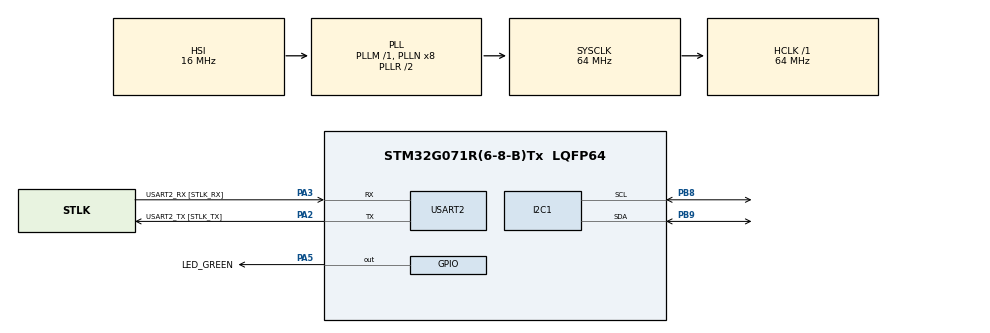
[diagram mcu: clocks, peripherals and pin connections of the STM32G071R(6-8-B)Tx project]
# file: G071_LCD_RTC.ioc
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I2C1.Timing=0x10B17DB5
Mcu.Family=STM32G0
Mcu.Name=STM32G071R(6-8-B)Tx
Mcu.Package=LQFP64
NVIC.RTC_TAMP_IRQn=true\:0\:0\:false\:false\:true\:true\:true\:true
NVIC.TIM6_DAC_LPTIM1_IRQn=true\:0\:0\:false\:false\:true\:true\:true\:true
PA13.GPIO_Label=TMS
PA13.Mode=Serial_Wire
PA13.Signal=SYS_SWDIO
PA14-BOOT0.GPIO_Label=TCK
PA14-BOOT0.Mode=Serial_Wire
PA14-BOOT0.Signal=SYS_SWCLK
PA2.GPIO_Label=USART2_TX [STLK_TX]
PA2.GPIO_PuPd=GPIO_PULLUP
PA2.Mode=Asynchronous
PA2.Signal=USART2_TX
PA3.GPIO_Label=USART2_RX [STLK_RX]
PA3.GPIO_PuPd=GPIO_PULLUP
PA3.Mode=Asynchronous
PA3.Signal=USART2_RX
PA5.GPIO_Label=LED_GREEN
PA5.GPIO_Speed=GPIO_SPEED_FREQ_HIGH
PA5.Signal=GPIO_Output
PB8.Mode=I2C
PB8.Signal=I2C1_SCL
PB9.Mode=I2C
PB9.Signal=I2C1_SDA
PC13.Mode=SYS_WakeUp1
PC13.Signal=SYS_WKUP2
PC14-OSC32_IN\ (PC14).Mode=LSE-External-Oscillator
PC14-OSC32_IN\ (PC14).Signal=RCC_OSC32_IN
PC15-OSC32_OUT\ (PC15).Mode=LSE-External-Oscillator
PC15-OSC32_OUT\ (PC15).Signal=RCC_OSC32_OUT
PF0-OSC_IN\ (PF0).GPIO_Label=MCO
PF0-OSC_IN\ (PF0).Signal=RCC_OSC_IN
ProjectManager.HeapSize=0x200
ProjectManager.StackSize=0x400
ProjectManager.TargetToolchain=STM32CubeIDE
RCC.ADCFreq_Value=64000000
RCC.AHBFreq_Value=64000000
RCC.CortexFreq_Value=64000000
RCC.EXTERNAL_CLOCK_VALUE=12288000
RCC.HCLKFreq_Value=64000000
RCC.HSE_VALUE=8000000
RCC.HSI_VALUE=16000000
RCC.RTCClockSelection=RCC_RTCCLKSOURCE_LSE
RCC.SYSCLKFreq_VALUE=64000000
RCC.SYSCLKSource=RCC_SYSCLKSOURCE_PLLCLK
RCC.VCOOutputFreq_Value=128000000
RTC.Alarm-Alarm\ A=RTC_ALARM_A
TIM6.Period=1000-1
TIM6.Prescaler=64000-1
USART2.VirtualMode-Asynchronous=VM_ASYNC
VP_RTC_VS_RTC_Activate.Mode=RTC_Enabled
VP_RTC_VS_RTC_Alarm_A_Intern.Mode=Alarm A
VP_RTC_VS_RTC_Calendar.Mode=RTC_Calendar
VP_TIM6_VS_ClockSourceINT.Mode=Enable_Timer
board=NUCLEO-G071RB

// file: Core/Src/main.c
/* USER CODE BEGIN Header */
/**
  ******************************************************************************
  * @file           : main.c
  * @brief          : Main program body
  ******************************************************************************
  * @attention
  *
  * Copyright (c) 2024 STMicroelectronics.
  * All rights reserved.
  *
  * This software is licensed under terms that can be found in the LICENSE file
  * in the root directory of this software component.
  * If no LICENSE file comes with this software, it is provided AS-IS.
  *
  ******************************************************************************
  */
/* USER CODE END Header */
#include "main.h"

/* USER CODE BEGIN Includes */
#include <string.h>
#include <stdio.h>
#include "ssd1306.h"
#include "ssd1306_fonts.h"
/* USER CODE END Includes */

/* USER CODE BEGIN PTD */
#define ESC "\033"
#define CLEAR_SCREEN ESC "[2J"
#define CURSOR_HOME ESC "[H"

/* USER CODE END PTD */

I2C_HandleTypeDef hi2c1;

RTC_HandleTypeDef hrtc;

TIM_HandleTypeDef htim6;

UART_HandleTypeDef huart2;

void SystemClock_Config(void);
static void MX_GPIO_Init(void);
static void MX_USART2_UART_Init(void);
static void MX_I2C1_Init(void);
static void MX_RTC_Init(void);
static void MX_TIM6_Init(void);
/* USER CODE BEGIN PFP */
void Set_RTC_Time(void);
void Set_RTC_Date(void);
void Set_RTC_Alarm(void);
void Show_Menu(void);
void Print_Time(void);
void Print_Date(void);
void Print_Alarm(void);
void HAL_RTC_AlarmAEventCallback(RTC_HandleTypeDef *hrtc);
void UART_Receive(uint8_t *data, uint16_t size);
void Clear_Screen(void);
void Print_Date_Oled(void);
void Print_Time_Oled(void);
/* USER CODE END PFP */

/* USER CODE BEGIN 0 */
void Clear_Screen(void)
{
    HAL_UART_Transmit(&huart2, (uint8_t*)CLEAR_SCREEN, strlen(CLEAR_SCREEN), HAL_MAX_DELAY);
    HAL_UART_Transmit(&huart2, (uint8_t*)CURSOR_HOME, strlen(CURSOR_HOME), HAL_MAX_DELAY);
}

void UART_Receive(uint8_t *buffer, uint16_t size)
{
    // Ensure the buffer is null-terminated
    HAL_UART_Receive(&huart2, buffer, size, HAL_MAX_DELAY);
    buffer[size] = '\0';
}

void Set_RTC_Time(void)
{
    RTC_TimeTypeDef sTime = {0};
    uint8_t buffer[3];

    HAL_UART_Transmit(&huart2, (uint8_t*)"Enter Hours (00-23): ", 21, HAL_MAX_DELAY);
    UART_Receive(buffer, 2);
    sTime.Hours = (buffer[0] - '0') * 10 + (buffer[1] - '0');

    HAL_UART_Transmit(&huart2, (uint8_t*)"\n\rEnter Minutes (00-59): ", 24, HAL_MAX_DELAY);
    UART_Receive(buffer, 2);
    sTime.Minutes = (buffer[0] - '0') * 10 + (buffer[1] - '0');

    HAL_UART_Transmit(&huart2, (uint8_t*)"\n\rEnter Seconds (00-59): \n\r", 24, HAL_MAX_DELAY);
    UART_Receive(buffer, 2);
    sTime.Seconds = (buffer[0] - '0') * 10 + (buffer[1] - '0');

    sTime.DayLightSaving = RTC_DAYLIGHTSAVING_NONE;
    sTime.StoreOperation = RTC_STOREOPERATION_RESET;

    if (HAL_RTC_SetTime(&hrtc, &sTime, RTC_FORMAT_BIN) != HAL_OK)
    {
        Error_Handler();
    }
    HAL_UART_Transmit(&huart2, (uint8_t*)"\n\rTime is set!\n\r ", 16, HAL_MAX_DELAY);
}

void Set_RTC_Date(void)
{
    RTC_DateTypeDef sDate = {0};
    uint8_t buffer[3];

    HAL_UART_Transmit(&huart2, (uint8_t*)"Enter Year (00-99): ", 20, HAL_MAX_DELAY);
    UART_Receive(buffer, 2);
    sDate.Year = (buffer[0] - '0') * 10 + (buffer[1] - '0');

    HAL_UART_Transmit(&huart2, (uint8_t*)"\n\rEnter Month (01-12): ", 22, HAL_MAX_DELAY);
    UART_Receive(buffer, 2);
    sDate.Month = (buffer[0] - '0') * 10 + (buffer[1] - '0');

    HAL_UART_Transmit(&huart2, (uint8_t*)"\n\rEnter Date (01-31): ", 21, HAL_MAX_DELAY);
    UART_Receive(buffer, 2);
    sDate.Date = (buffer[0] - '0') * 10 + (buffer[1] - '0');

    HAL_UART_Transmit(&huart2, (uint8_t*)"\n\rEnter Weekday (1=Mon, 7=Sun): ", 33, HAL_MAX_DELAY);
    UART_Receive(buffer, 1);
    sDate.WeekDay = buffer[0] - '0';

    if (HAL_RTC_SetDate(&hrtc, &sDate, RTC_FORMAT_BIN) != HAL_OK)
    {
        Error_Handler();
    }
    HAL_UART_Transmit(&huart2, (uint8_t*)"\n\rDate is set!\n\r ", 16, HAL_MAX_DELAY);

}

void Set_RTC_Alarm(void)
{
    RTC_AlarmTypeDef sAlarm = {0};
    uint8_t buffer[3];

    HAL_UART_Transmit(&huart2, (uint8_t*)"Enter Alarm Hours (00-23): ", 27, HAL_MAX_DELAY);
    UART_Receive(buffer, 2);
    sAlarm.AlarmTime.Hours = (buffer[0] - '0') * 10 + (buffer[1] - '0');

    HAL_UART_Transmit(&huart2, (uint8_t*)"\n\rEnter Alarm Minutes (00-59): ", 30, HAL_MAX_DELAY);
    UART_Receive(buffer, 2);
    sAlarm.AlarmTime.Minutes = (buffer[0] - '0') * 10 + (buffer[1] - '0');

    HAL_UART_Transmit(&huart2, (uint8_t*)"\n\rEnter Alarm Seconds (00-59): ", 30, HAL_MAX_DELAY);
    UART_Receive(buffer, 2);
    sAlarm.AlarmTime.Seconds = (buffer[0] - '0') * 10 + (buffer[1] - '0');

    sAlarm.AlarmTime.SubSeconds = 0;
    sAlarm.AlarmTime.DayLightSaving = RTC_DAYLIGHTSAVING_NONE;
    sAlarm.AlarmTime.StoreOperation = RTC_STOREOPERATION_RESET;
    sAlarm.AlarmMask = RTC_ALARMMASK_NONE;
    sAlarm.AlarmSubSecondMask = RTC_ALARMSUBSECONDMASK_ALL;
    sAlarm.AlarmDateWeekDaySel = RTC_ALARMDATEWEEKDAYSEL_DATE;
    sAlarm.AlarmDateWeekDay = 0x01;
    sAlarm.Alarm = RTC_ALARM_A;

    if (HAL_RTC_SetAlarm_IT(&hrtc, &sAlarm, RTC_FORMAT_BIN) != HAL_OK)
    {
        Error_Handler();
    }
    HAL_UART_Transmit(&huart2, (uint8_t*)"\n\rAlarm is set!\n\r", 17, HAL_MAX_DELAY);
}

void Print_Time(void)
{
    RTC_TimeTypeDef sTime;
    char buffer[50];

    HAL_RTC_GetTime(&hrtc, &sTime, RTC_FORMAT_BIN);
    sprintf(buffer, "Current Time: %02d:%02d:%02d\n\r", sTime.Hours, sTime.Minutes, sTime.Seconds);
    HAL_UART_Transmit(&huart2, (uint8_t*)buffer, strlen(buffer), HAL_MAX_DELAY);
}

void Print_Date(void)
{
    RTC_DateTypeDef sDate;
    char buffer[50];

    HAL_RTC_GetDate(&hrtc, &sDate, RTC_FORMAT_BIN);
    sprintf(buffer, "Current Date: %02d-%02d-20%02d\n\r", sDate.Date, sDate.Month, sDate.Year);
    HAL_UART_Transmit(&huart2, (uint8_t*)buffer, strlen(buffer), HAL_MAX_DELAY);
}

void Print_Date_Oled(void)
{
    RTC_DateTypeDef sDate;
    char buffer_oled[15] ={0};

    HAL_RTC_GetDate(&hrtc, &sDate, RTC_FORMAT_BIN);
    sprintf(buffer_oled, "%02d-%02d-20%02d", sDate.Date, sDate.Month, sDate.Year);
    ssd1306_SetCursor(15, 45);
    ssd1306_WriteString(buffer_oled, Font_16x15, White);
    ssd1306_UpdateScreen();
}

void Print_Time_Oled(void)
{
    RTC_TimeTypeDef sTime;
    char buffer_oled[15] ={0};

    HAL_RTC_GetTime(&hrtc, &sTime, RTC_FORMAT_BIN);
    sprintf(buffer_oled, "%02d:%02d:%02d", sTime.Hours, sTime.Minutes, sTime.Seconds);
    ssd1306_SetCursor(20, 28);
    ssd1306_WriteString(buffer_oled, Font_11x18, White);
    ssd1306_UpdateScreen();
}

void Print_Alarm(void)
{
    RTC_AlarmTypeDef sAlarm;
    char buffer[50];

    HAL_RTC_GetAlarm(&hrtc, &sAlarm, RTC_ALARM_A, RTC_FORMAT_BIN);
    sprintf(buffer, "Alarm Time: %02d:%02d:%02d\n\r", sAlarm.AlarmTime.Hours, sAlarm.AlarmTime.Minutes, sAlarm.AlarmTime.Seconds);
    HAL_UART_Transmit(&huart2, (uint8_t*)buffer, strlen(buffer), HAL_MAX_DELAY);
}

void Show_Menu(void)
{
    Clear_Screen();
    const char *menu = "\r\nMenu:\r\n"
    				   "0. Show Menu\r\n"
                       "1. Show Time\r\n"
                       "2. Show Date\r\n"
                       "3. Show Alarm\r\n"
                       "4. Set Time\r\n"
                       "5. Set Date\r\n"
                       "6. Set Alarm\r\n"
    				   "7. Reset Alarm Led\r\n\n";

    HAL_UART_Transmit(&huart2, (uint8_t*)menu, strlen(menu), HAL_MAX_DELAY);
}

/* USER CODE END 0 */

int main(void)
{

  /* USER CODE BEGIN 1 */
	char OledText[] = "PR TechTalk RTC";

  /* USER CODE END 1 */

  /* MCU Configuration--------------------------------------------------------*/

  /* Reset of all peripherals, Initializes the Flash interface and the Systick. */
  HAL_Init();

  /* Configure the system clock */
  SystemClock_Config();

  /* Initialize all configured peripherals */
  MX_GPIO_Init();
  MX_USART2_UART_Init();
  MX_I2C1_Init();
  MX_RTC_Init();
  MX_TIM6_Init();
  /* USER CODE BEGIN 2 */
  ssd1306_Init();
  ssd1306_SetCursor(0, 0);
  ssd1306_Fill(Black);
  ssd1306_WriteString(OledText, Font_11x18, White);
  ssd1306_Line(0, 20, 128, 20, White);
  ssd1306_UpdateScreen();
  Show_Menu();

  // Start the TIM6 interrupt
  HAL_TIM_Base_Start_IT(&htim6);

  /* USER CODE END 2 */

  /* Infinite loop */
  /* USER CODE BEGIN WHILE */
  while (1)
  {
	  uint8_t userChoice = 0;

	  	  // Wait for user input
	  	  UART_Receive(&userChoice, 1);

	  	  // Handle user input
	  	  	          switch (userChoice)
	  	  	          {

	  	  	          	  case '0':
	  	  	        	  	  Show_Menu();
	  	  	        	  	  break;
	  	  	          	  case '1':
	  	  	                  Print_Time();
	  	  	                  break;
	  	  	              case '2':
	  	  	                  Print_Date();
	  	  	                  break;
	  	  	              case '3':
	  	  	                  Print_Alarm();
	  	  	                  break;
	  	  	              case '4':
	  	  	                  Set_RTC_Time();
	  	  	                  break;
	  	  	              case '5':
	  	  	                  Set_RTC_Date();
	  	  	                  break;
	  	  	              case '6':
	  	  	                  Set_RTC_Alarm();
	  	  	                  break;
	  	  	              case '7':
	  	  	            	  HAL_GPIO_WritePin(LED_GREEN_GPIO_Port, LED_GREEN_Pin, GPIO_PIN_RESET);
	  	  	              default:
	  	  	                  HAL_UART_Transmit(&huart2, (uint8_t*)"Invalid choice. Please try again.\n\r", 36, HAL_MAX_DELAY);
	  	  	                  break;
	  	  	          }

	  	  	          // After user input is processed, show menu again
	  	  	          //  Show_Menu();

    /* USER CODE END WHILE */

  }
}

void SystemClock_Config(void)
{
  RCC_OscInitTypeDef RCC_OscInitStruct = {0};
  RCC_ClkInitTypeDef RCC_ClkInitStruct = {0};

  /** Configure the main internal regulator output voltage
  */
  HAL_PWREx_ControlVoltageScaling(PWR_REGULATOR_VOLTAGE_SCALE1);

  /** Configure LSE Drive Capability
  */
  HAL_PWR_EnableBkUpAccess();
  __HAL_RCC_LSEDRIVE_CONFIG(RCC_LSEDRIVE_LOW);

  /** Initializes the RCC Oscillators according to the specified parameters
  * in the RCC_OscInitTypeDef structure.
  */
  RCC_OscInitStruct.OscillatorType = RCC_OSCILLATORTYPE_HSI|RCC_OSCILLATORTYPE_LSE;
  RCC_OscInitStruct.LSEState = RCC_LSE_ON;
  RCC_OscInitStruct.HSIState = RCC_HSI_ON;
  RCC_OscInitStruct.HSIDiv = RCC_HSI_DIV1;
  RCC_OscInitStruct.HSICalibrationValue = RCC_HSICALIBRATION_DEFAULT;
  RCC_OscInitStruct.PLL.PLLState = RCC_PLL_ON;
  RCC_OscInitStruct.PLL.PLLSource = RCC_PLLSOURCE_HSI;
  RCC_OscInitStruct.PLL.PLLM = RCC_PLLM_DIV1;
  RCC_OscInitStruct.PLL.PLLN = 8;
  RCC_OscInitStruct.PLL.PLLP = RCC_PLLP_DIV2;
  RCC_OscInitStruct.PLL.PLLQ = RCC_PLLQ_DIV2;
  RCC_OscInitStruct.PLL.PLLR = RCC_PLLR_DIV2;
  if (HAL_RCC_OscConfig(&RCC_OscInitStruct) != HAL_OK)
  {
    Error_Handler();
  }

  /** Initializes the CPU, AHB and APB buses clocks
  */
  RCC_ClkInitStruct.ClockType = RCC_CLOCKTYPE_HCLK|RCC_CLOCKTYPE_SYSCLK
                              |RCC_CLOCKTYPE_PCLK1;
  RCC_ClkInitStruct.SYSCLKSource = RCC_SYSCLKSOURCE_PLLCLK;
  RCC_ClkInitStruct.AHBCLKDivider = RCC_SYSCLK_DIV1;
  RCC_ClkInitStruct.APB1CLKDivider = RCC_HCLK_DIV1;

  if (HAL_RCC_ClockConfig(&RCC_ClkInitStruct, FLASH_LATENCY_2) != HAL_OK)
  {
    Error_Handler();
  }
}

static void MX_I2C1_Init(void)
{

  hi2c1.Instance = I2C1;
  hi2c1.Init.Timing = 0x10B17DB5;
  hi2c1.Init.OwnAddress1 = 0;
  hi2c1.Init.AddressingMode = I2C_ADDRESSINGMODE_7BIT;
  hi2c1.Init.DualAddressMode = I2C_DUALADDRESS_DISABLE;
  hi2c1.Init.OwnAddress2 = 0;
  hi2c1.Init.OwnAddress2Masks = I2C_OA2_NOMASK;
  hi2c1.Init.GeneralCallMode = I2C_GENERALCALL_DISABLE;
  hi2c1.Init.NoStretchMode = I2C_NOSTRETCH_DISABLE;
  if (HAL_I2C_Init(&hi2c1) != HAL_OK)
  {
    Error_Handler();
  }

  /** Configure Analogue filter
  */
  if (HAL_I2CEx_ConfigAnalogFilter(&hi2c1, I2C_ANALOGFILTER_ENABLE) != HAL_OK)
  {
    Error_Handler();
  }

  /** Configure Digital filter
  */
  if (HAL_I2CEx_ConfigDigitalFilter(&hi2c1, 0) != HAL_OK)
  {
    Error_Handler();
  }

}

static void MX_RTC_Init(void)
{

  RTC_TimeTypeDef sTime = {0};
  RTC_DateTypeDef sDate = {0};
  RTC_AlarmTypeDef sAlarm = {0};

  /** Initialize RTC Only
  */
  hrtc.Instance = RTC;
  hrtc.Init.HourFormat = RTC_HOURFORMAT_24;
  hrtc.Init.AsynchPrediv = 127;
  hrtc.Init.SynchPrediv = 255;
  hrtc.Init.OutPut = RTC_OUTPUT_DISABLE;
  hrtc.Init.OutPutRemap = RTC_OUTPUT_REMAP_NONE;
  hrtc.Init.OutPutPolarity = RTC_OUTPUT_POLARITY_HIGH;
  hrtc.Init.OutPutType = RTC_OUTPUT_TYPE_OPENDRAIN;
  hrtc.Init.OutPutPullUp = RTC_OUTPUT_PULLUP_NONE;
  if (HAL_RTC_Init(&hrtc) != HAL_OK)
  {
    Error_Handler();
  }

  /** Initialize RTC and set the Time and Date
  */
  sTime.Hours = 0x0;
  sTime.Minutes = 0x0;
  sTime.Seconds = 0x0;
  sTime.SubSeconds = 0x0;
  sTime.DayLightSaving = RTC_DAYLIGHTSAVING_NONE;
  sTime.StoreOperation = RTC_STOREOPERATION_RESET;
  if (HAL_RTC_SetTime(&hrtc, &sTime, RTC_FORMAT_BCD) != HAL_OK)
  {
    Error_Handler();
  }
  sDate.WeekDay = RTC_WEEKDAY_MONDAY;
  sDate.Month = RTC_MONTH_JANUARY;
  sDate.Date = 0x1;
  sDate.Year = 0x0;

  if (HAL_RTC_SetDate(&hrtc, &sDate, RTC_FORMAT_BCD) != HAL_OK)
  {
    Error_Handler();
  }

  /** Enable the Alarm A
  */
  sAlarm.AlarmTime.Hours = 0x0;
  sAlarm.AlarmTime.Minutes = 0x0;
  sAlarm.AlarmTime.Seconds = 0x0;
  sAlarm.AlarmTime.SubSeconds = 0x0;
  sAlarm.AlarmTime.DayLightSaving = RTC_DAYLIGHTSAVING_NONE;
  sAlarm.AlarmTime.StoreOperation = RTC_STOREOPERATION_RESET;
  sAlarm.AlarmMask = RTC_ALARMMASK_NONE;
  sAlarm.AlarmSubSecondMask = RTC_ALARMSUBSECONDMASK_ALL;
  sAlarm.AlarmDateWeekDaySel = RTC_ALARMDATEWEEKDAYSEL_DATE;
  sAlarm.AlarmDateWeekDay = 0x1;
  sAlarm.Alarm = RTC_ALARM_A;
  if (HAL_RTC_SetAlarm_IT(&hrtc, &sAlarm, RTC_FORMAT_BCD) != HAL_OK)
  {
    Error_Handler();
  }

}

static void MX_TIM6_Init(void)
{

  TIM_MasterConfigTypeDef sMasterConfig = {0};

  htim6.Instance = TIM6;
  htim6.Init.Prescaler = 64000-1;
  htim6.Init.CounterMode = TIM_COUNTERMODE_UP;
  htim6.Init.Period = 1000-1;
  htim6.Init.AutoReloadPreload = TIM_AUTORELOAD_PRELOAD_DISABLE;
  if (HAL_TIM_Base_Init(&htim6) != HAL_OK)
  {
    Error_Handler();
  }
  sMasterConfig.MasterOutputTrigger = TIM_TRGO_RESET;
  sMasterConfig.MasterSlaveMode = TIM_MASTERSLAVEMODE_DISABLE;
  if (HAL_TIMEx_MasterConfigSynchronization(&htim6, &sMasterConfig) != HAL_OK)
  {
    Error_Handler();
  }

}

static void MX_USART2_UART_Init(void)
{

  huart2.Instance = USART2;
  huart2.Init.BaudRate = 115200;
  huart2.Init.WordLength = UART_WORDLENGTH_8B;
  huart2.Init.StopBits = UART_STOPBITS_1;
  huart2.Init.Parity = UART_PARITY_NONE;
  huart2.Init.Mode = UART_MODE_TX_RX;
  huart2.Init.HwFlowCtl = UART_HWCONTROL_NONE;
  huart2.Init.OverSampling = UART_OVERSAMPLING_16;
  huart2.Init.OneBitSampling = UART_ONE_BIT_SAMPLE_DISABLE;
  huart2.Init.ClockPrescaler = UART_PRESCALER_DIV1;
  huart2.AdvancedInit.AdvFeatureInit = UART_ADVFEATURE_NO_INIT;
  if (HAL_UART_Init(&huart2) != HAL_OK)
  {
    Error_Handler();
  }
  if (HAL_UARTEx_SetTxFifoThreshold(&huart2, UART_TXFIFO_THRESHOLD_1_8) != HAL_OK)
  {
    Error_Handler();
  }
  if (HAL_UARTEx_SetRxFifoThreshold(&huart2, UART_RXFIFO_THRESHOLD_1_8) != HAL_OK)
  {
    Error_Handler();
  }
  if (HAL_UARTEx_DisableFifoMode(&huart2) != HAL_OK)
  {
    Error_Handler();
  }

}

static void MX_GPIO_Init(void)
{
  GPIO_InitTypeDef GPIO_InitStruct = {0};

  /* GPIO Ports Clock Enable */
  __HAL_RCC_GPIOC_CLK_ENABLE();
  __HAL_RCC_GPIOF_CLK_ENABLE();
  __HAL_RCC_GPIOA_CLK_ENABLE();
  __HAL_RCC_GPIOB_CLK_ENABLE();

  /*Configure GPIO pin Output Level */
  HAL_GPIO_WritePin(LED_GREEN_GPIO_Port, LED_GREEN_Pin, GPIO_PIN_RESET);

  /*Configure GPIO pin : LED_GREEN_Pin */
  GPIO_InitStruct.Pin = LED_GREEN_Pin;
  GPIO_InitStruct.Mode = GPIO_MODE_OUTPUT_PP;
  GPIO_InitStruct.Pull = GPIO_NOPULL;
  GPIO_InitStruct.Speed = GPIO_SPEED_FREQ_HIGH;
  HAL_GPIO_Init(LED_GREEN_GPIO_Port, &GPIO_InitStruct);

}

/* USER CODE BEGIN 4 */
void HAL_RTC_AlarmAEventCallback(RTC_HandleTypeDef *hrtc)
{
	HAL_GPIO_WritePin(LED_GREEN_GPIO_Port, LED_GREEN_Pin, GPIO_PIN_SET);

}

void HAL_TIM_PeriodElapsedCallback(TIM_HandleTypeDef *htim)
{
    if (htim->Instance == TIM6)
    {
        // Your 1-second interrupt handling code here
    	Print_Date_Oled();
    	Print_Time_Oled();
    }
}

/* USER CODE END 4 */

void Error_Handler(void)
{
  __disable_irq();
  while (1)
  {
  }
}
